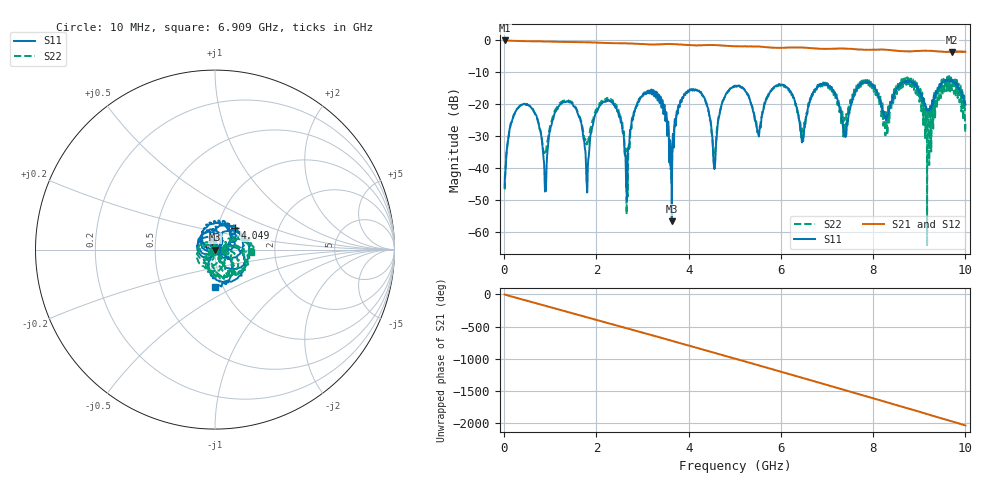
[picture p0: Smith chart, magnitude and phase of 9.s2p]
!Keysight Technologies,E5080B,MY59205177,A.15.75.32
!Date: Friday, February 23, 2024 03:26:09
!Correction: S11(Cdelta 2-Port  )
!S21(Cdelta 2-Port  )
!S12(Cdelta 2-Port  )
!S22(Cdelta 2-Port  )
!S2P File: Measurements: S11, S21, S12, S22:
# Hz S  dB  R 50
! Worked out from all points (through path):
!   10001 points, 10 MHz to 10 GHz, reference 50 ohm
!   highest |S21| = -0.02 dB at 14 MHz (marker M1); lowest = -3.7 dB at 9.701 GHz (marker M2)
!   group delay of S21, straight-line fit = 565 ps
!   lowest |S11| = -56.7 dB at 3.634 GHz (marker M3), VSWR 1.00, Z = 50.1 - j0.13 ohm
!   |S11| at or under -10 dB: start of sweep to end of sweep
!   |S22| runs from -64.5 to -11.2 dB; largest |S21 - S12| = 0.0016
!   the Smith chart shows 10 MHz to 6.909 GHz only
!   S11 on the Smith chart (normalised r, x): 10 MHz: 1.01, -0.00; 4.049 GHz: 1.21, +0.30; 6.909 GHz: 0.91, -0.40
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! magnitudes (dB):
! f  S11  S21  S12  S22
! 10 MHz  -45.9  0.0  0.0  -46.2
! 14 MHz  -43.2  0.0  0.0  -45.9
! 362.6 MHz  -20.3  -0.2  -0.2  -20.2
! 889.1 MHz  -46.9  -0.3  -0.3  -35.5
! 1.213 GHz  -20.1  -0.5  -0.5  -19.6
! 1.675 GHz  -26.1  -0.6  -0.6  -25.5
! 1.802 GHz  -47.3  -0.6  -0.6  -32.1
! 2.35 GHz  -19.3  -0.9  -0.9  -18.8
! 2.663 GHz  -50.3  -0.9  -0.9  -42.4
! 2.891 GHz  -19.4  -1.1  -1.1  -20.2
! 3.341 GHz  -17.5  -1.2  -1.2  -17.8
! 3.634 GHz  -56.7  -1.1  -1.1  -42.4
! 4.049 GHz  -15.6  -1.5  -1.5  -15.6
! 4.56 GHz  -40.2  -1.5  -1.5  -39.4
! 5.005 GHz  -14.2  -1.8  -1.8  -14.5
! 5.516 GHz  -29.8  -1.9  -1.9  -28.8
! 6.67 GHz  -17.3  -2.4  -2.4  -16.9
! 6.909 GHz  -13.6  -2.6  -2.6  -13.7
! 7.383 GHz  -30.0  -2.6  -2.6  -25.3
! 8.336 GHz  -22.6  -3.0  -3.0  -20.5
! 9.701 GHz  -12.3  -3.7  -3.7  -13.9
! 10 GHz  -20.1  -3.6  -3.6  -26.3
